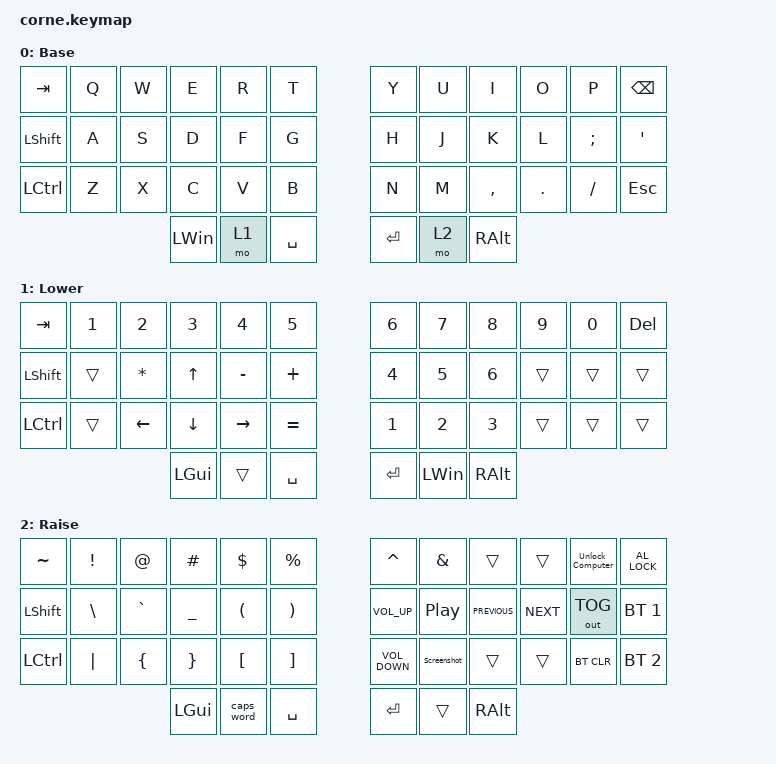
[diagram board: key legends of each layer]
/*
 * Copyright (c) 2020 The ZMK Contributors
 *
 * SPDX-License-Identifier: MIT
 */

#include <behaviors.dtsi>
#include <dt-bindings/zmk/bt.h>
#include <dt-bindings/zmk/keys.h>
#include <dt-bindings/zmk/outputs.h>

/ {
    macros {
        Unlock_Computer: Unlock_Computer {
            compatible = "zmk,behavior-macro";
            label = "UNLOCK_COMPUTER";
            #binding-cells = <0>;
            bindings = <&kp LS(G) &kp O &kp I &kp N &kp G &kp O &kp N &kp V &kp A &kp C &kp A &kp T &kp I &kp O &kp N &kp N0 &kp N2 &kp EXCL>;
            tap-ms = <10>;
        };
        Screenshot: Screenshot {
            compatible = "zmk,behavior-macro";
            label = "SCREENSHOT";
            #binding-cells = <0>;
            bindings =
                <&macro_press>,
                <&kp LEFT_WIN &kp LSHFT &kp S>,
                <&macro_release>;
        };
    };

    keymap {
        compatible = "zmk,keymap";

        Base {
            // -----------------------------------------------------------------------------------------
            // |  TAB |  Q  |  W  |  E  |  R  |  T  |   |  Y  |  U   |  I  |  O  |  P  | BKSP |
            // | CTRL |  A  |  S  |  D  |  F  |  G  |   |  H  |  J   |  K  |  L  |  ;  |  '   |
            // | SHFT |  Z  |  X  |  C  |  V  |  B  |   |  N  |  M   |  ,  |  .  |  /  | ESC  |
            //                    | GUI | LWR | SPC |   | ENT | RSE  | ALT |

            label = "Base";
            bindings = <
  &kp TAB  &kp Q  &kp W         &kp E  &kp R      &kp T      &kp Y  &kp U      &kp I    &kp O     &kp P  &kp BSPC
&kp LSHFT  &kp A  &kp S         &kp D  &kp F      &kp G      &kp H  &kp J      &kp K    &kp L  &kp SEMI  &kp APOS
&kp LCTRL  &kp Z  &kp X         &kp C  &kp V      &kp B      &kp N  &kp M  &kp COMMA  &kp DOT  &kp FSLH   &kp ESC
                         &kp LEFT_WIN  &mo 1  &kp SPACE    &kp RET  &mo 2   &kp RALT
            >;
        };

        Lower {
            // -----------------------------------------------------------------------------------------
            // |  TAB |  1  |  2  |  3  |  4  |  5  |   |  6  |  7  |  8  |  9  |  0  | BKSP |
            // | BTCLR| BT1 | BT2 | BT3 | BT4 | BT5 |   | LFT | DWN |  UP | RGT |     |      |
            // | SHFT |     |     |     |     |     |   |     |     |     |     |     |      |
            //                    | GUI |     | SPC |   | ENT |     | ALT |

            label = "Lower";
            bindings = <
  &kp TAB  &kp N1     &kp N2    &kp N3     &kp N4     &kp N5     &kp N6        &kp N7    &kp N8  &kp N9  &kp N0  &kp DEL
&kp LSHFT  &trans  &kp ASTRK    &kp UP  &kp MINUS   &kp PLUS     &kp N4        &kp N5    &kp N6  &trans  &trans   &trans
&kp LCTRL  &trans   &kp LEFT  &kp DOWN  &kp RIGHT  &kp EQUAL     &kp N1        &kp N2    &kp N3  &trans  &trans   &trans
                              &kp LGUI     &trans  &kp SPACE    &kp RET  &kp LEFT_WIN  &kp RALT
            >;
        };

        Raise {
            // -----------------------------------------------------------------------------------------
            // |  TAB |  !  |  @  |  #  |  $  |  %  |   |  ^  |  &  |  *  |  (  |  )  | BKSP |
            // | CTRL |     |     |     |     |     |   |  -  |  =  |  [  |  ]  |  \  |  `   |
            // | SHFT |     |     |     |     |     |   |  _  |  +  |  {  |  }  | "|" |  ~   |
            //                    | GUI |     | SPC |   | ENT |     | ALT |

            label = "Raise";
            bindings = <
     &kp TILDE       &kp EXCL          &kp AT         &kp HASH              &kp DLLR              &kp PRCNT            &kp CARET          &kp AMPS          &trans      &trans  &Unlock_Computer  &kp C_AL_LOCK
&kp LEFT_SHIFT  &kp BACKSLASH       &kp GRAVE        &kp UNDER  &kp LEFT_PARENTHESIS  &kp RIGHT_PARENTHESIS      &kp C_VOLUME_UP  &kp C_PLAY_PAUSE  &kp C_PREVIOUS  &kp C_NEXT      &out OUT_TOG   &bt BT_SEL 1
     &kp LCTRL       &kp PIPE  &kp LEFT_BRACE  &kp RIGHT_BRACE      &kp LEFT_BRACKET      &kp RIGHT_BRACKET    &kp C_VOLUME_DOWN       &Screenshot          &trans      &trans        &bt BT_CLR   &bt BT_SEL 2
                                                      &kp LGUI            &caps_word              &kp SPACE              &kp RET            &trans        &kp RALT
            >;
        };
    };
};

&nice_view_spi {
    cs-gpios = <&pro_micro 0 GPIO_ACTIVE_HIGH>;
};
